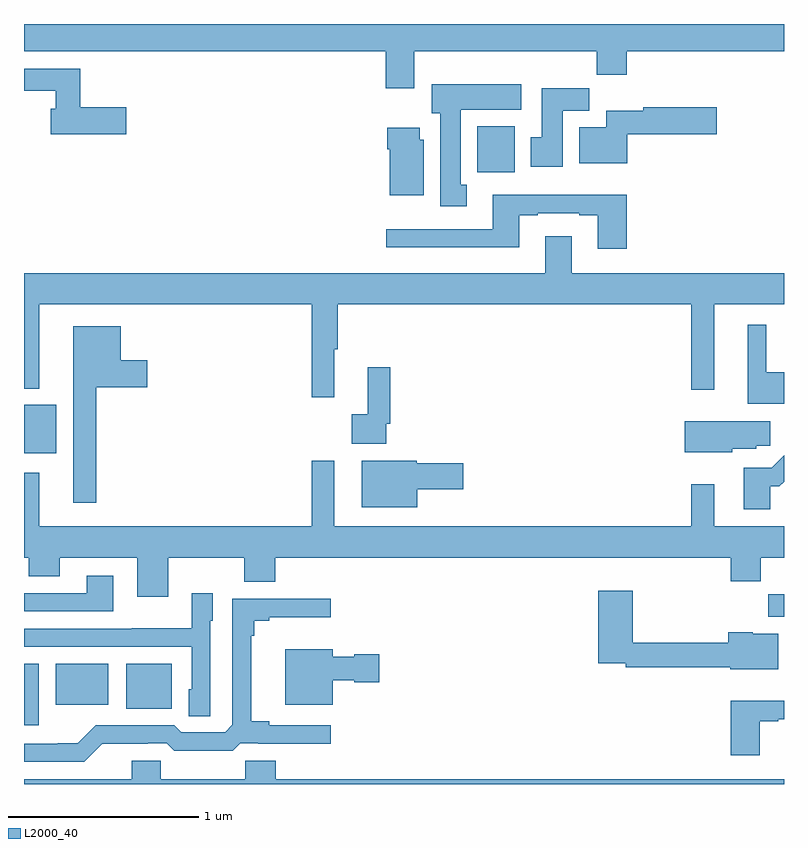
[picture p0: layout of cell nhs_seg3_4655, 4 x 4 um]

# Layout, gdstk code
import gdstk
lib = gdstk.Library(unit=1e-6, precision=1e-09)
def R(c, l, rs):  # rectangles x0, y0, x1, y1
    for r in rs: c.add(gdstk.rectangle(r[:2], r[2:], *l))
def P(c, l, *ps):  # polygons
    for p in ps: c.add(gdstk.Polygon(p, *l))
L2000_40 = (2000, 40)

nhs_seg3_4655 = lib.new_cell('nhs_seg3_4655')
R(nhs_seg3_4655, L2000_40, [(361,690.708,361.077,691.032), (361.538,690.797,361.777,691.033), (361.166,690.818,361.444,691.033), (364.918,691.28,365,691.399), (361,692.141,361.171,692.395), (363.386,693.62,363.583,693.862)])
P(nhs_seg3_4655, L2000_40, [(363.055,694.256),(364.015,694.256),(364.015,694.132),(364.172,694.132),(364.172,694.256),(365,694.256),(365,694.4),(361,694.4),(361,694.256),(362.903,694.256),(362.903,694.062),(363.055,694.062)],
  [(361.537,693.963),(361.295,693.963),(361.295,694.164),(361,694.164),(361,694.048),(361.167,694.048),(361.167,693.955),(361.141,693.955),(361.141,693.821),(361.537,693.821)],
  [(363.331,693.554),(363.298,693.554),(363.298,693.95),(363.616,693.95),(363.616,694.084),(363.146,694.084),(363.146,693.93),(363.191,693.93),(363.191,693.441),(363.331,693.441)],
  [(363.835,693.944),(363.974,693.944),(363.974,694.063),(363.725,694.063),(363.725,693.804),(363.668,693.804),(363.668,693.648),(363.835,693.648)],
  [(364.174,693.821),(364.645,693.821),(364.645,693.963),(364.26,693.963),(364.26,693.943),(364.064,693.943),(364.064,693.856),(363.923,693.856),(363.923,693.668),(364.174,693.668)],
  [(363.103,693.792),(363.082,693.792),(363.082,693.853),(362.912,693.853),(362.912,693.74),(362.924,693.74),(362.924,693.5),(363.103,693.5)],
  [(364.172,693.502),(363.467,693.502),(363.467,693.321),(362.907,693.321),(362.907,693.224),(363.607,693.224),(363.607,693.393),(363.703,693.393),(363.703,693.405),(363.923,693.405),(363.923,693.393),(364.019,693.393),(364.019,693.216),(364.172,693.216)],
  [(362.633,692.688),(362.651,692.688),(362.651,692.924),(364.512,692.924),(364.512,692.475),(364.633,692.475),(364.633,692.924),(365,692.924),(365,693.088),(363.883,693.088),(363.883,693.283),(363.743,693.283),(363.743,693.088),(361,693.088),(361,692.48),(361.081,692.48),(361.081,692.924),(362.515,692.924),(362.515,692.436),(362.633,692.436)],
  [(365,692.566),(364.906,692.566),(364.906,692.818),(364.808,692.818),(364.808,692.402),(365,692.402)],
  [(361.381,692.489),(361.648,692.489),(361.648,692.631),(361.51,692.631),(361.51,692.809),(361.259,692.809),(361.259,691.881),(361.381,691.881)],
  [(362.907,692.296),(362.927,692.296),(362.927,692.593),(362.81,692.593),(362.81,692.345),(362.724,692.345),(362.724,692.192),(362.907,692.192)],
  [(364.728,692.165),(364.854,692.165),(364.854,692.179),(364.927,692.179),(364.927,692.308),(364.478,692.308),(364.478,692.147),(364.728,692.147)],
  [(364.927,691.967),(364.976,691.967),(365,691.991),(365,692.129),(364.935,692.064),(364.787,692.064),(364.787,691.845),(364.927,691.845)],
  [(361.759,691.592),(362.159,691.592),(362.159,691.464),(362.323,691.464),(362.323,691.592),(364.721,691.592),(364.721,691.468),(364.877,691.468),(364.877,691.592),(365,691.592),(365,691.756),(364.633,691.756),(364.633,691.978),(364.512,691.978),(364.512,691.756),(362.632,691.756),(362.632,692.101),(362.515,692.101),(362.515,691.756),(361.081,691.756),(361.081,692.038),(361,692.038),(361,691.592),(361.025,691.592),(361.025,691.493),(361.189,691.493),(361.189,691.592),(361.595,691.592),(361.595,691.386),(361.759,691.386)],
  [(363.07,691.952),(363.313,691.952),(363.313,692.087),(363.066,692.087),(363.066,692.101),(362.777,692.101),(362.777,691.856),(363.07,691.856)],
  [(361.471,691.495),(361.331,691.495),(361.331,691.404),(361,691.404),(361,691.308),(361.471,691.308)],
  [(364.969,691.192),(364.836,691.192),(364.836,691.198),(364.706,691.198),(364.706,691.144),(364.205,691.144),(364.205,691.417),(364.022,691.417),(364.022,691.035),(364.168,691.035),(364.168,691.015),(364.718,691.015),(364.718,691.004),(364.969,691.004)],
  [(361.98,691.26),(361.993,691.26),(361.993,691.405),(361.884,691.405),(361.884,691.219),(361.567,691.219),(361.567,691.218),(361,691.218),(361,691.122),(361.884,691.122),(361.884,690.9),(361.868,690.9),(361.868,690.757),(361.98,690.757)],
  [(361.412,690.611),(361.652,690.611),(361.652,690.615),(361.752,690.615),(361.792,690.576),(362.099,690.576),(362.139,690.615),(362.233,690.615),(362.233,690.611),(362.614,690.611),(362.614,690.708),(362.29,690.708),(362.29,690.731),(362.195,690.731),(362.195,691.181),(362.213,691.181),(362.213,691.258),(362.29,691.258),(362.29,691.277),(362.614,691.277),(362.614,691.374),(362.097,691.374),(362.097,690.711),(362.058,690.672),(361.827,690.672),(361.791,690.708),(361.377,690.708),(361.283,690.614),(361.178,690.614),(361.178,690.612),(361,690.612),(361,690.516),(361.317,690.516)],
  [(362.626,690.947),(362.739,690.947),(362.739,690.935),(362.869,690.935),(362.869,691.082),(362.739,691.082),(362.739,691.069),(362.626,691.069),(362.626,691.108),(362.375,691.108),(362.375,690.818),(362.626,690.818)],
  [(364.873,690.729),(364.969,690.729),(364.969,690.741),(365,690.741),(365,690.838),(364.721,690.838),(364.721,690.552),(364.873,690.552)],
  [(365,690.424),(362.324,690.424),(362.324,690.522),(362.164,690.522),(362.164,690.424),(361.719,690.424),(361.719,690.522),(361.568,690.522),(361.568,690.424),(361,690.424),(361,690.4),(365,690.4)])

lib.write_gds('nhs_seg3_4655.gds')
